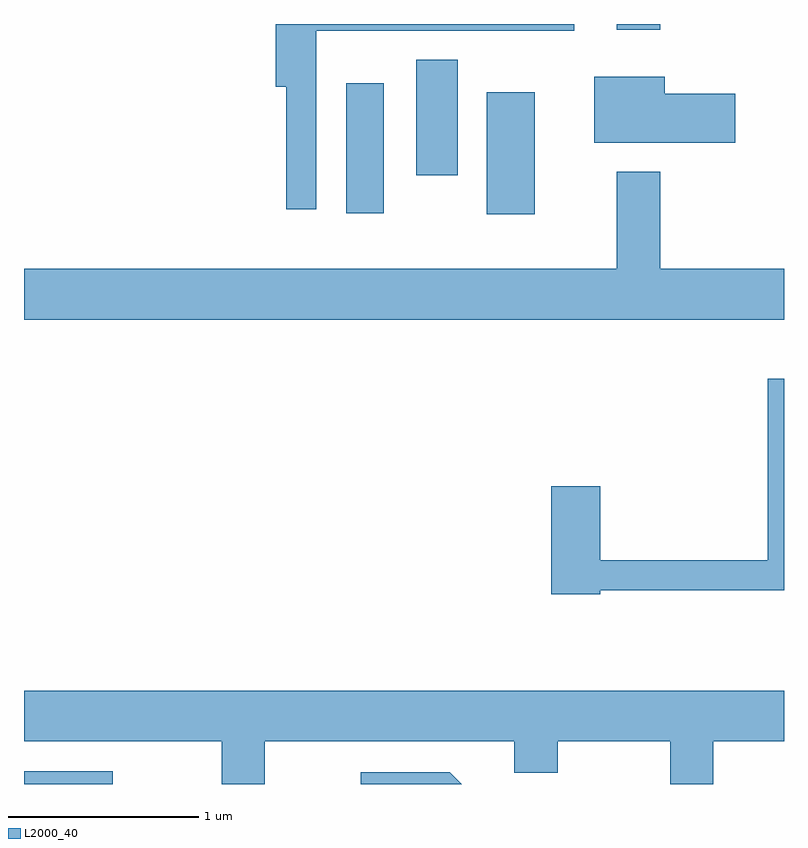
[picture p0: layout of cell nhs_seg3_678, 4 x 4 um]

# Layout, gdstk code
import gdstk
lib = gdstk.Library(unit=1e-6, precision=1e-09)
def R(c, l, rs):  # rectangles x0, y0, x1, y1
    for r in rs: c.add(gdstk.rectangle(r[:2], r[2:], *l))
def P(c, l, *ps):  # polygons
    for p in ps: c.add(gdstk.Polygon(p, *l))
L2000_40 = (2000, 40)

nhs_seg3_678 = lib.new_cell('nhs_seg3_678')
R(nhs_seg3_678, L2000_40, [(203.611,1247.892,204.079,1247.959), (206.046,1250.891,206.299,1251.534), (205.306,1250.896,205.504,1251.579), (205.676,1251.096,205.894,1251.704), (206.731,1251.861,206.959,1251.892)])
P(nhs_seg3_678, L2000_40, [(205.149,1251.856),(206.508,1251.856),(206.508,1251.892),(204.936,1251.892),(204.936,1251.561),(204.991,1251.561),(204.991,1250.918),(205.149,1250.918)],
  [(207.354,1251.524),(206.984,1251.524),(206.984,1251.614),(206.611,1251.614),(206.611,1251.266),(207.354,1251.266)],
  [(207.611,1250.604),(206.959,1250.604),(206.959,1251.114),(206.731,1251.114),(206.731,1250.604),(203.611,1250.604),(203.611,1250.336),(207.611,1250.336)],
  [(206.644,1248.911),(207.611,1248.911),(207.611,1250.024),(207.526,1250.024),(207.526,1249.069),(206.644,1249.069),(206.644,1249.459),(206.386,1249.459),(206.386,1248.891),(206.644,1248.891)],
  [(204.879,1248.116),(206.191,1248.116),(206.191,1247.951),(206.419,1247.951),(206.419,1248.116),(207.011,1248.116),(207.011,1247.892),(207.239,1247.892),(207.239,1248.116),(207.611,1248.116),(207.611,1248.384),(203.611,1248.384),(203.611,1248.116),(204.651,1248.116),(204.651,1247.892),(204.879,1247.892)],
  [(205.852,1247.954),(205.383,1247.954),(205.383,1247.892),(205.914,1247.892)])

lib.write_gds('nhs_seg3_678.gds')
